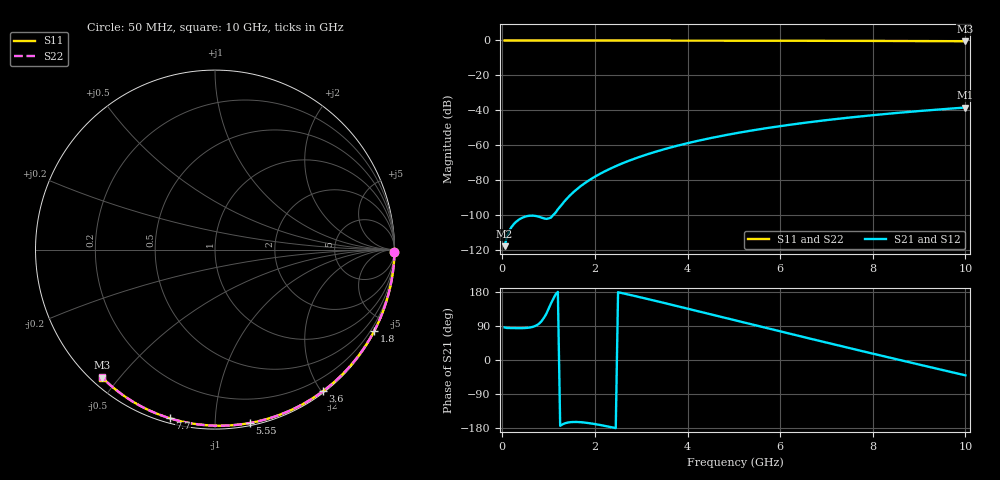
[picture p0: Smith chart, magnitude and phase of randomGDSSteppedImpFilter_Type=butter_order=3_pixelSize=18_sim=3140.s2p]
! freq	dB(S11)	phase(S11)	dB(S12)	phase(S12)
!  dB(S21)	phase(S21)	dB(S22)	phase(S22)
!S-par simulation data
#  GHz  S  DB  R 50
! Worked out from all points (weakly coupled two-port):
!   200 points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, 50 MHz to 10 GHz, reference 50 ohm
!   highest |S21| = -38.42 dB at 10 GHz (marker M1); lowest = -117.8 dB at 50 MHz (marker M2)
!   lowest |S11| = -0.4 dB at 10 GHz (marker M3), VSWR 39.20, Z = 1.54 - j22.6 ohm
!   |S11| at or under -10 dB: nowhere
!   |S22| runs from -0.4 to 0.0 dB; largest |S21 - S12| = 0
!   S11 on the Smith chart (normalised r, x): 50 MHz: open; 1.8 GHz: 0.04, -4.18; 3.6 GHz: 0.02, -2.02; 5.55 GHz: 0.02, -1.22; 7.7 GHz: 0.02, -0.77; 10 GHz: 0.03, -0.45
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0.05  -0.00 -0.8  -117.82 86.0  -117.82 86.0  -0.00 -0.8
0.9  -0.02 -13.6  -101.91 111.6  -101.91 111.6  -0.02 -13.6
1.75  -0.03 -26.2  -82.32 -164.7  -82.32 -164.7  -0.03 -26.2
1.8  -0.03 -26.9  -81.39 -165.4  -81.39 -165.4  -0.03 -27.0
1.85  -0.04 -27.7  -80.50 -166.2  -80.50 -166.2  -0.04 -27.7
1.9  -0.04 -28.4  -79.64 -167.1  -79.64 -167.1  -0.04 -28.4
2.05  -0.04 -30.6  -77.27 -170.1  -77.27 -170.1  -0.04 -30.6
2.25  -0.04 -33.5  -74.47 -174.7  -74.47 -174.7  -0.04 -33.5
2.45  -0.05 -36.4  -71.99 -179.8  -71.99 -179.8  -0.05 -36.4
2.65  -0.05 -39.3  -69.77 174.8  -69.77 174.8  -0.05 -39.3
3  -0.06 -44.2  -66.37 165.0  -66.37 165.0  -0.06 -44.3
3.4  -0.07 -49.9  -63.03 153.4  -63.03 153.4  -0.07 -49.9
3.6  -0.07 -52.6  -61.54 147.5  -61.54 147.5  -0.07 -52.7
4.3  -0.09 -62.2  -57.03 126.6  -57.03 126.6  -0.09 -62.3
5.05  -0.11 -72.2  -53.11 104.0  -53.11 104.0  -0.11 -72.3
5.55  -0.13 -78.6  -50.87 89.0  -50.87 89.0  -0.13 -78.7
6.1  -0.15 -85.6  -48.69 72.6  -48.69 72.6  -0.15 -85.7
6.7  -0.18 -93.0  -46.59 54.8  -46.59 54.8  -0.18 -93.1
7.7  -0.24 -105.0  -43.60 25.5  -43.60 25.5  -0.24 -105.1
8.35  -0.29 -112.6  -41.93 6.7  -41.93 6.7  -0.29 -112.7
9.15  -0.36 -121.7  -40.10 -16.3  -40.10 -16.3  -0.36 -121.9
10  -0.44 -131.3  -38.42 -40.5  -38.42 -40.5  -0.44 -131.5
